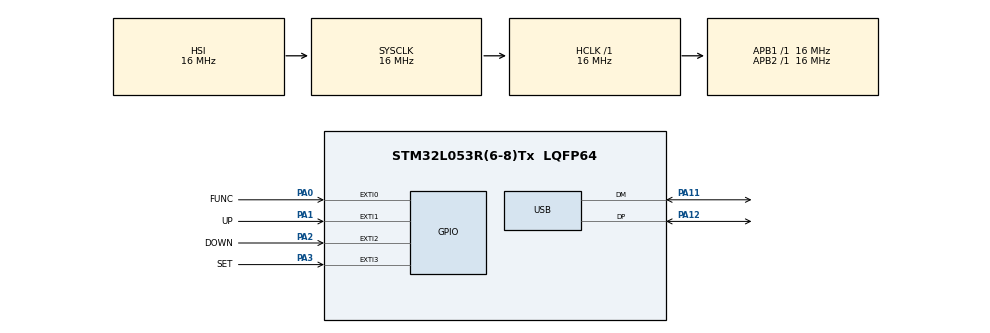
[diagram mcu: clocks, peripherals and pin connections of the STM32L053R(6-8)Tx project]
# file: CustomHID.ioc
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Mcu.Family=STM32L0
Mcu.Name=STM32L053R(6-8)Tx
Mcu.Package=LQFP64
NVIC.USB_IRQn=true\:0\:0\:false\:false\:true\:false\:true\:true
PA0.GPIO_Label=FUNC
PA0.GPIO_ModeDefaultEXTI=GPIO_MODE_EVT_FALLING
PA0.GPIO_PuPd=GPIO_PULLUP
PA0.Signal=GPXTI0
PA1.GPIO_Label=UP
PA1.GPIO_ModeDefaultEXTI=GPIO_MODE_EVT_FALLING
PA1.GPIO_PuPd=GPIO_PULLUP
PA1.Signal=GPXTI1
PA11.Mode=Device
PA11.Signal=USB_DM
PA12.Mode=Device
PA12.Signal=USB_DP
PA13.Mode=Serial_Wire
PA13.Signal=SYS_SWDIO
PA14.Mode=Serial_Wire
PA14.Signal=SYS_SWCLK
PA2.GPIO_Label=DOWN
PA2.GPIO_ModeDefaultEXTI=GPIO_MODE_EVT_FALLING
PA2.GPIO_PuPd=GPIO_PULLUP
PA2.Signal=GPXTI2
PA3.GPIO_Label=SET
PA3.GPIO_ModeDefaultEXTI=GPIO_MODE_EVT_FALLING
PA3.GPIO_PuPd=GPIO_PULLUP
PA3.Signal=GPXTI3
ProjectManager.HeapSize=0x400
ProjectManager.StackSize=0x400
ProjectManager.TargetToolchain=MDK-ARM V5.32
RCC.AHBFreq_Value=16000000
RCC.APB1Freq_Value=16000000
RCC.APB1TimFreq_Value=16000000
RCC.APB2Freq_Value=16000000
RCC.APB2TimFreq_Value=16000000
RCC.FLatency=FLASH_LATENCY_0
RCC.HCLKFreq_Value=16000000
RCC.HSE_VALUE=8000000
RCC.HSI16_VALUE=16000000
RCC.HSI48MClockSelection=RCC_USBCLKSOURCE_HSI48
RCC.HSI48_VALUE=48000000
RCC.HSI_VALUE=16000000
RCC.LSE_VALUE=32768
RCC.MSI_VALUE=2097000
RCC.PLLMUL=RCC_PLLMUL_4
RCC.SYSCLKFreq_VALUE=16000000
RCC.SYSCLKSource=RCC_SYSCLKSOURCE_HSI
RCC.VCOOutputFreq_Value=64000000
USB_DEVICE.CLASS_NAME_FS=CUSTOM_HID
USB_DEVICE.CUSTOM_HID_FS_BINTERVAL=0x1
USB_DEVICE.MANUFACTURER_STRING=COSCO
USB_DEVICE.USBD_CUSTOMHID_OUTREPORT_BUF_SIZE=0x20
USB_DEVICE.USBD_CUSTOM_HID_REPORT_DESC_SIZE=0x20
USB_DEVICE.USBD_MAX_NUM_INTERFACES=3
USB_DEVICE.USBD_MAX_STR_DESC_SIZ=0x40
USB_DEVICE.VID=0x483
USB_DEVICE.VirtualMode=CustomHid
USB_DEVICE.VirtualModeFS=Custom_Hid_FS
VP_USB_DEVICE_VS_USB_DEVICE_CUSTOM_HID_FS.Mode=CUSTOM_HID_FS
board=custom

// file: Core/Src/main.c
/* USER CODE BEGIN Header */
/**
  ******************************************************************************
  * @file           : main.c
  * @brief          : Main program body
  ******************************************************************************
  * @attention
  *
  * Copyright (c) 2022 STMicroelectronics.
  * All rights reserved.
  *
  * This software is licensed under terms that can be found in the LICENSE file
  * in the root directory of this software component.
  * If no LICENSE file comes with this software, it is provided AS-IS.
  *
  ******************************************************************************
  */
/* USER CODE END Header */
#include "main.h"
#include "usb_device.h"

/* USER CODE BEGIN Includes */
#include "usbd_customhid.h"
/* USER CODE END Includes */

/* USER CODE BEGIN PTD */
extern USBD_HandleTypeDef hUsbDeviceFS;
uint8_t reportX[20];
uint32_t delay;
uint32_t key, keyOld;
/* USER CODE END PTD */

void SystemClock_Config(void);
static void MX_GPIO_Init(void);

int main(void)
{

  /* MCU Configuration--------------------------------------------------------*/

  /* Reset of all peripherals, Initializes the Flash interface and the Systick. */
  HAL_Init();

  /* USER CODE BEGIN Init */
	reportX[0] = 2;

  /* USER CODE END Init */

  /* Configure the system clock */
  SystemClock_Config();

  /* Initialize all configured peripherals */
  MX_GPIO_Init();
  MX_USB_DEVICE_Init();

  /* Infinite loop */
  while (1)
  {

    /* USER CODE BEGIN 3 */
		if (HAL_GPIO_ReadPin(FUNC_GPIO_Port, FUNC_Pin)){
			delay --;
			if (delay < 0x10){
				key = 0;
				delay = 0x10;
			}

		}else{
			delay ++;
			if (delay > 0x100){
				delay = 0x100;
				key = 1;
			}
		}
		if ((key == 0) && keyOld){
			reportX[3] = 0;
//			USBD_CUSTOM_HID_SendReport(&hUsbDeviceFS, 0x82, report, 3);
			USBD_CUSTOM_HID_SendReport(&hUsbDeviceFS, 0x83, reportX, 9);
		}
		if ((keyOld == 0) && key){
			reportX[3] = 100;
			USBD_CUSTOM_HID_SendReport(&hUsbDeviceFS, 0x83, reportX, 9);
		}

		keyOld = key;
  }
  /* USER CODE END 3 */
}

void SystemClock_Config(void)
{
  RCC_OscInitTypeDef RCC_OscInitStruct = {0};
  RCC_ClkInitTypeDef RCC_ClkInitStruct = {0};
  RCC_PeriphCLKInitTypeDef PeriphClkInit = {0};

  /** Configure the main internal regulator output voltage
  */
  __HAL_PWR_VOLTAGESCALING_CONFIG(PWR_REGULATOR_VOLTAGE_SCALE1);

  /** Initializes the RCC Oscillators according to the specified parameters
  * in the RCC_OscInitTypeDef structure.
  */
  RCC_OscInitStruct.OscillatorType = RCC_OSCILLATORTYPE_HSI|RCC_OSCILLATORTYPE_HSI48;
  RCC_OscInitStruct.HSIState = RCC_HSI_ON;
  RCC_OscInitStruct.HSICalibrationValue = RCC_HSICALIBRATION_DEFAULT;
  RCC_OscInitStruct.HSI48State = RCC_HSI48_ON;
  RCC_OscInitStruct.PLL.PLLState = RCC_PLL_NONE;
  if (HAL_RCC_OscConfig(&RCC_OscInitStruct) != HAL_OK)
  {
    Error_Handler();
  }

  /** Initializes the CPU, AHB and APB buses clocks
  */
  RCC_ClkInitStruct.ClockType = RCC_CLOCKTYPE_HCLK|RCC_CLOCKTYPE_SYSCLK
                              |RCC_CLOCKTYPE_PCLK1|RCC_CLOCKTYPE_PCLK2;
  RCC_ClkInitStruct.SYSCLKSource = RCC_SYSCLKSOURCE_HSI;
  RCC_ClkInitStruct.AHBCLKDivider = RCC_SYSCLK_DIV1;
  RCC_ClkInitStruct.APB1CLKDivider = RCC_HCLK_DIV1;
  RCC_ClkInitStruct.APB2CLKDivider = RCC_HCLK_DIV1;

  if (HAL_RCC_ClockConfig(&RCC_ClkInitStruct, FLASH_LATENCY_0) != HAL_OK)
  {
    Error_Handler();
  }
  PeriphClkInit.PeriphClockSelection = RCC_PERIPHCLK_USB;
  PeriphClkInit.UsbClockSelection = RCC_USBCLKSOURCE_HSI48;
  if (HAL_RCCEx_PeriphCLKConfig(&PeriphClkInit) != HAL_OK)
  {
    Error_Handler();
  }
}

static void MX_GPIO_Init(void)
{
  LL_EXTI_InitTypeDef EXTI_InitStruct = {0};

  /* GPIO Ports Clock Enable */
  LL_IOP_GRP1_EnableClock(LL_IOP_GRP1_PERIPH_GPIOA);

  /**/
  LL_SYSCFG_SetEXTISource(LL_SYSCFG_EXTI_PORTA, LL_SYSCFG_EXTI_LINE0);

  /**/
  LL_SYSCFG_SetEXTISource(LL_SYSCFG_EXTI_PORTA, LL_SYSCFG_EXTI_LINE1);

  /**/
  LL_SYSCFG_SetEXTISource(LL_SYSCFG_EXTI_PORTA, LL_SYSCFG_EXTI_LINE2);

  /**/
  LL_SYSCFG_SetEXTISource(LL_SYSCFG_EXTI_PORTA, LL_SYSCFG_EXTI_LINE3);

  /**/
  LL_GPIO_SetPinPull(FUNC_GPIO_Port, FUNC_Pin, LL_GPIO_PULL_UP);

  /**/
  LL_GPIO_SetPinPull(UP_GPIO_Port, UP_Pin, LL_GPIO_PULL_UP);

  /**/
  LL_GPIO_SetPinPull(DOWN_GPIO_Port, DOWN_Pin, LL_GPIO_PULL_UP);

  /**/
  LL_GPIO_SetPinPull(SET_GPIO_Port, SET_Pin, LL_GPIO_PULL_UP);

  /**/
  LL_GPIO_SetPinMode(FUNC_GPIO_Port, FUNC_Pin, LL_GPIO_MODE_INPUT);

  /**/
  LL_GPIO_SetPinMode(UP_GPIO_Port, UP_Pin, LL_GPIO_MODE_INPUT);

  /**/
  LL_GPIO_SetPinMode(DOWN_GPIO_Port, DOWN_Pin, LL_GPIO_MODE_INPUT);

  /**/
  LL_GPIO_SetPinMode(SET_GPIO_Port, SET_Pin, LL_GPIO_MODE_INPUT);

  /**/
  EXTI_InitStruct.Line_0_31 = LL_EXTI_LINE_0;
  EXTI_InitStruct.LineCommand = ENABLE;
  EXTI_InitStruct.Mode = LL_EXTI_MODE_EVENT;
  EXTI_InitStruct.Trigger = LL_EXTI_TRIGGER_FALLING;
  LL_EXTI_Init(&EXTI_InitStruct);

  /**/
  EXTI_InitStruct.Line_0_31 = LL_EXTI_LINE_1;
  EXTI_InitStruct.LineCommand = ENABLE;
  EXTI_InitStruct.Mode = LL_EXTI_MODE_EVENT;
  EXTI_InitStruct.Trigger = LL_EXTI_TRIGGER_FALLING;
  LL_EXTI_Init(&EXTI_InitStruct);

  /**/
  EXTI_InitStruct.Line_0_31 = LL_EXTI_LINE_2;
  EXTI_InitStruct.LineCommand = ENABLE;
  EXTI_InitStruct.Mode = LL_EXTI_MODE_EVENT;
  EXTI_InitStruct.Trigger = LL_EXTI_TRIGGER_FALLING;
  LL_EXTI_Init(&EXTI_InitStruct);

  /**/
  EXTI_InitStruct.Line_0_31 = LL_EXTI_LINE_3;
  EXTI_InitStruct.LineCommand = ENABLE;
  EXTI_InitStruct.Mode = LL_EXTI_MODE_EVENT;
  EXTI_InitStruct.Trigger = LL_EXTI_TRIGGER_FALLING;
  LL_EXTI_Init(&EXTI_InitStruct);

}

void Error_Handler(void)
{
  __disable_irq();
  while (1)
  {
  }
}
